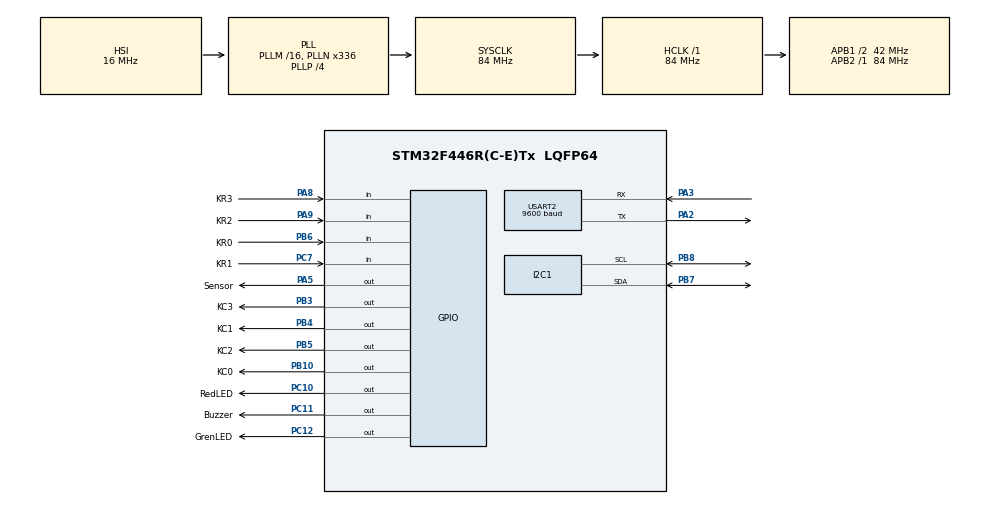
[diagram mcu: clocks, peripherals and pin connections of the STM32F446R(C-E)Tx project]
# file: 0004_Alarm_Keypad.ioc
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FREERTOS.Tasks01=OLEDTask,24,128,StartOLEDTask,Default,NULL,Dynamic,NULL,NULL;KeypadTask,24,128,StartKeypadTask,Default,NULL,Dynamic,NULL,NULL;LEDTask,24,128,StartLEDTask,Default,NULL,Dynamic,NULL,NULL;BuzzerTask,24,128,StartBuzzerTask,Default,NULL,Dynamic,NULL,NULL;SensorTask,24,128,StartSensorTask,Default,NULL,Dynamic,NULL,NULL
I2C1.I2C_Mode=I2C_Fast
Mcu.Family=STM32F4
Mcu.Name=STM32F446R(C-E)Tx
Mcu.Package=LQFP64
NVIC.PriorityGroup=NVIC_PRIORITYGROUP_4
NVIC.TIM6_DAC_IRQn=true\:15\:0\:false\:false\:true\:false\:false\:true\:true
NVIC.TimeBase=TIM6_DAC_IRQn
NVIC.TimeBaseIP=TIM6
PA13.Mode=Serial_Wire
PA13.Signal=SYS_JTMS-SWDIO
PA14.Mode=Serial_Wire
PA14.Signal=SYS_JTCK-SWCLK
PA2.Mode=Asynchronous
PA2.Signal=USART2_TX
PA3.Mode=Asynchronous
PA3.Signal=USART2_RX
PA5.GPIO_Label=Sensor
PA5.Signal=GPIO_Output
PA8.GPIO_Label=KR3
PA8.GPIO_PuPd=GPIO_PULLDOWN
PA8.Signal=GPIO_Input
PA9.GPIO_Label=KR2
PA9.GPIO_PuPd=GPIO_PULLDOWN
PA9.Signal=GPIO_Input
PB10.GPIO_Label=KC0
PB10.Signal=GPIO_Output
PB3.GPIO_Label=KC3
PB3.Signal=GPIO_Output
PB4.GPIO_Label=KC1
PB4.Signal=GPIO_Output
PB5.GPIO_Label=KC2
PB5.Signal=GPIO_Output
PB6.GPIO_Label=KR0
PB6.GPIO_PuPd=GPIO_PULLDOWN
PB6.Signal=GPIO_Input
PB7.Mode=I2C
PB7.Signal=I2C1_SDA
PB8.Mode=I2C
PB8.Signal=I2C1_SCL
PC10.GPIO_Label=RedLED
PC10.Signal=GPIO_Output
PC11.GPIO_Label=Buzzer
PC11.Signal=GPIO_Output
PC12.GPIO_Label=GrenLED
PC12.Signal=GPIO_Output
PC14-OSC32_IN.Mode=LSE-External-Oscillator
PC14-OSC32_IN.Signal=RCC_OSC32_IN
PC15-OSC32_OUT.Mode=LSE-External-Oscillator
PC15-OSC32_OUT.Signal=RCC_OSC32_OUT
PC7.GPIO_Label=KR1
PC7.GPIO_PuPd=GPIO_PULLDOWN
PC7.Signal=GPIO_Input
PH0-OSC_IN.Mode=HSE-External-Oscillator
PH0-OSC_IN.Signal=RCC_OSC_IN
PH1-OSC_OUT.Mode=HSE-External-Oscillator
PH1-OSC_OUT.Signal=RCC_OSC_OUT
ProjectManager.HeapSize=0x200
ProjectManager.StackSize=0x400
ProjectManager.TargetToolchain=STM32CubeIDE
RCC.48MHZClocksFreq_Value=84000000
RCC.AHBFreq_Value=84000000
RCC.APB1CLKDivider=RCC_HCLK_DIV2
RCC.APB1Freq_Value=42000000
RCC.APB1TimFreq_Value=84000000
RCC.APB2Freq_Value=84000000
RCC.APB2TimFreq_Value=84000000
RCC.CortexFreq_Value=84000000
RCC.FLatency-AdvancedSettings=FLASH_LATENCY_2
RCC.HCLKFreq_Value=84000000
RCC.HSE_VALUE=8000000
RCC.HSI_VALUE=16000000
RCC.PLLN=336
RCC.PLLP=RCC_PLLP_DIV4
RCC.SYSCLKFreq_VALUE=84000000
RCC.SYSCLKSource=RCC_SYSCLKSOURCE_PLLCLK
RCC.USBFreq_Value=168000000
RCC.VCOOutputFreq_Value=336000000
USART2.BaudRate=9600
USART2.VirtualMode=VM_ASYNC
VP_FREERTOS_VS_CMSIS_V2.Mode=CMSIS_V2
VP_SYS_VS_tim6.Mode=TIM6
board=NUCLEO-F446RE

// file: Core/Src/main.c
/* USER CODE BEGIN Header */
/**
  ******************************************************************************
  * @file           : main.c
  * @brief          : Main program body
  ******************************************************************************
  * @attention
  *
  * Copyright (c) 2024 STMicroelectronics.
  * All rights reserved.
  *
  * This software is licensed under terms that can be found in the LICENSE file
  * in the root directory of this software component.
  * If no LICENSE file comes with this software, it is provided AS-IS.
  *
  ******************************************************************************
  */
/* USER CODE END Header */
#include "main.h"
#include "cmsis_os.h"

/* USER CODE BEGIN Includes */
#include "Keypad4X4.h"
#include <stdio.h>
#include <string.h>
#include <stdlib.h>
#include "fonts.h"
#include "ssd1306.h"

/* USER CODE END Includes */

I2C_HandleTypeDef hi2c1;

UART_HandleTypeDef huart2;

/* Definitions for OLEDTask */
osThreadId_t OLEDTaskHandle;
const osThreadAttr_t OLEDTask_attributes = {
  .name = "OLEDTask",
  .stack_size = 128 * 4,
  .priority = (osPriority_t) osPriorityNormal,
};
/* Definitions for KeypadTask */
osThreadId_t KeypadTaskHandle;
const osThreadAttr_t KeypadTask_attributes = {
  .name = "KeypadTask",
  .stack_size = 128 * 4,
  .priority = (osPriority_t) osPriorityNormal,
};
/* Definitions for LEDTask */
osThreadId_t LEDTaskHandle;
const osThreadAttr_t LEDTask_attributes = {
  .name = "LEDTask",
  .stack_size = 128 * 4,
  .priority = (osPriority_t) osPriorityNormal,
};
/* Definitions for BuzzerTask */
osThreadId_t BuzzerTaskHandle;
const osThreadAttr_t BuzzerTask_attributes = {
  .name = "BuzzerTask",
  .stack_size = 128 * 4,
  .priority = (osPriority_t) osPriorityNormal,
};
/* Definitions for SensorTask */
osThreadId_t SensorTaskHandle;
const osThreadAttr_t SensorTask_attributes = {
  .name = "SensorTask",
  .stack_size = 128 * 4,
  .priority = (osPriority_t) osPriorityNormal,
};
/* USER CODE BEGIN PV */
extern char key;
char hold[4];
char password[4] = "1111";
bool oledUpdate = false;
bool buzzerFlag= false;
bool sensorStatus = false;

/* USER CODE END PV */

void SystemClock_Config(void);
static void MX_GPIO_Init(void);
static void MX_USART2_UART_Init(void);
static void MX_I2C1_Init(void);
void StartOLEDTask(void *argument);
void StartKeypadTask(void *argument);
void StartLEDTask(void *argument);
void StartBuzzerTask(void *argument);
void StartSensorTask(void *argument);

/* USER CODE BEGIN PFP */

bool isArmed = true;

/* USER CODE END PFP */

int main(void)
{

  /* MCU Configuration--------------------------------------------------------*/

  /* Reset of all peripherals, Initializes the Flash interface and the Systick. */
  HAL_Init();

  /* Configure the system clock */
  SystemClock_Config();

  /* Initialize all configured peripherals */
  MX_GPIO_Init();
  MX_USART2_UART_Init();
  MX_I2C1_Init();
  /* USER CODE BEGIN 2 */
  /* USER CODE BEGIN 2 */
    SSD1306_Init();
//    SSD1306_GotoXY (0,0);
//    SSD1306_Puts ("Enter Code:", &Font_11x18, 1);
//    SSD1306_GotoXY (0, 30);
//    SSD1306_UpdateScreen();
//    SSD1306_UpdateScreen();
//    HAL_Delay (500);

  /* USER CODE END 2 */

  /* Init scheduler */
  osKernelInitialize();

  /* Create the thread(s) */
  /* creation of OLEDTask */
  OLEDTaskHandle = osThreadNew(StartOLEDTask, NULL, &OLEDTask_attributes);

  /* creation of KeypadTask */
  KeypadTaskHandle = osThreadNew(StartKeypadTask, NULL, &KeypadTask_attributes);

  /* creation of LEDTask */
  LEDTaskHandle = osThreadNew(StartLEDTask, NULL, &LEDTask_attributes);

  /* creation of BuzzerTask */
  BuzzerTaskHandle = osThreadNew(StartBuzzerTask, NULL, &BuzzerTask_attributes);

  /* creation of SensorTask */
  SensorTaskHandle = osThreadNew(StartSensorTask, NULL, &SensorTask_attributes);

  /* Start scheduler */
  osKernelStart();

  /* We should never get here as control is now taken by the scheduler */
  /* Infinite loop */
  /* USER CODE BEGIN WHILE */
//  SSD1306_GotoXY (0, 30);
//  SSD1306_UpdateScreen();
//  SSD1306_Puts ("DISARMED", &Font_11x18, 1);
//  SSD1306_UpdateScreen();
  while (1)
  {
    /* USER CODE END WHILE */

    /* USER CODE BEGIN 3 */
	/* D10 to D7 as input pins for row 0 to row 3. D6 to D3 as output for column pins C1 to C3*/
//	  key = Get_Key();
//	  sprintf(hold, "%c", key);
//	  HAL_UART_Transmit(&huart2, (uint8_t *)hold, strlen(hold), 100);
//	  SSD1306_GotoXY (0, 30);
//	  SSD1306_UpdateScreen();
//	  SSD1306_Puts (hold, &Font_11x18, 1);
//	  SSD1306_UpdateScreen();
//	  HAL_Delay (500);
  }
  /* USER CODE END 3 */
}

void SystemClock_Config(void)
{
  RCC_OscInitTypeDef RCC_OscInitStruct = {0};
  RCC_ClkInitTypeDef RCC_ClkInitStruct = {0};

  /** Configure the main internal regulator output voltage
  */
  __HAL_RCC_PWR_CLK_ENABLE();
  __HAL_PWR_VOLTAGESCALING_CONFIG(PWR_REGULATOR_VOLTAGE_SCALE3);

  /** Initializes the RCC Oscillators according to the specified parameters
  * in the RCC_OscInitTypeDef structure.
  */
  RCC_OscInitStruct.OscillatorType = RCC_OSCILLATORTYPE_HSI;
  RCC_OscInitStruct.HSIState = RCC_HSI_ON;
  RCC_OscInitStruct.HSICalibrationValue = RCC_HSICALIBRATION_DEFAULT;
  RCC_OscInitStruct.PLL.PLLState = RCC_PLL_ON;
  RCC_OscInitStruct.PLL.PLLSource = RCC_PLLSOURCE_HSI;
  RCC_OscInitStruct.PLL.PLLM = 16;
  RCC_OscInitStruct.PLL.PLLN = 336;
  RCC_OscInitStruct.PLL.PLLP = RCC_PLLP_DIV4;
  RCC_OscInitStruct.PLL.PLLQ = 2;
  RCC_OscInitStruct.PLL.PLLR = 2;
  if (HAL_RCC_OscConfig(&RCC_OscInitStruct) != HAL_OK)
  {
    Error_Handler();
  }

  /** Initializes the CPU, AHB and APB buses clocks
  */
  RCC_ClkInitStruct.ClockType = RCC_CLOCKTYPE_HCLK|RCC_CLOCKTYPE_SYSCLK
                              |RCC_CLOCKTYPE_PCLK1|RCC_CLOCKTYPE_PCLK2;
  RCC_ClkInitStruct.SYSCLKSource = RCC_SYSCLKSOURCE_PLLCLK;
  RCC_ClkInitStruct.AHBCLKDivider = RCC_SYSCLK_DIV1;
  RCC_ClkInitStruct.APB1CLKDivider = RCC_HCLK_DIV2;
  RCC_ClkInitStruct.APB2CLKDivider = RCC_HCLK_DIV1;

  if (HAL_RCC_ClockConfig(&RCC_ClkInitStruct, FLASH_LATENCY_2) != HAL_OK)
  {
    Error_Handler();
  }
}

static void MX_I2C1_Init(void)
{

  hi2c1.Instance = I2C1;
  hi2c1.Init.ClockSpeed = 400000;
  hi2c1.Init.DutyCycle = I2C_DUTYCYCLE_2;
  hi2c1.Init.OwnAddress1 = 0;
  hi2c1.Init.AddressingMode = I2C_ADDRESSINGMODE_7BIT;
  hi2c1.Init.DualAddressMode = I2C_DUALADDRESS_DISABLE;
  hi2c1.Init.OwnAddress2 = 0;
  hi2c1.Init.GeneralCallMode = I2C_GENERALCALL_DISABLE;
  hi2c1.Init.NoStretchMode = I2C_NOSTRETCH_DISABLE;
  if (HAL_I2C_Init(&hi2c1) != HAL_OK)
  {
    Error_Handler();
  }

}

static void MX_USART2_UART_Init(void)
{

  huart2.Instance = USART2;
  huart2.Init.BaudRate = 9600;
  huart2.Init.WordLength = UART_WORDLENGTH_8B;
  huart2.Init.StopBits = UART_STOPBITS_1;
  huart2.Init.Parity = UART_PARITY_NONE;
  huart2.Init.Mode = UART_MODE_TX_RX;
  huart2.Init.HwFlowCtl = UART_HWCONTROL_NONE;
  huart2.Init.OverSampling = UART_OVERSAMPLING_16;
  if (HAL_UART_Init(&huart2) != HAL_OK)
  {
    Error_Handler();
  }

}

static void MX_GPIO_Init(void)
{
  GPIO_InitTypeDef GPIO_InitStruct = {0};

  /* GPIO Ports Clock Enable */
  __HAL_RCC_GPIOC_CLK_ENABLE();
  __HAL_RCC_GPIOH_CLK_ENABLE();
  __HAL_RCC_GPIOA_CLK_ENABLE();
  __HAL_RCC_GPIOB_CLK_ENABLE();

  /*Configure GPIO pin Output Level */
  HAL_GPIO_WritePin(Sensor_GPIO_Port, Sensor_Pin, GPIO_PIN_RESET);

  /*Configure GPIO pin Output Level */
  HAL_GPIO_WritePin(GPIOB, KC0_Pin|KC3_Pin|KC1_Pin|KC2_Pin, GPIO_PIN_RESET);

  /*Configure GPIO pin Output Level */
  HAL_GPIO_WritePin(GPIOC, RedLED_Pin|Buzzer_Pin|GrenLED_Pin, GPIO_PIN_RESET);

  /*Configure GPIO pin : Sensor_Pin */
  GPIO_InitStruct.Pin = Sensor_Pin;
  GPIO_InitStruct.Mode = GPIO_MODE_OUTPUT_PP;
  GPIO_InitStruct.Pull = GPIO_NOPULL;
  GPIO_InitStruct.Speed = GPIO_SPEED_FREQ_LOW;
  HAL_GPIO_Init(Sensor_GPIO_Port, &GPIO_InitStruct);

  /*Configure GPIO pins : KC0_Pin KC3_Pin KC1_Pin KC2_Pin */
  GPIO_InitStruct.Pin = KC0_Pin|KC3_Pin|KC1_Pin|KC2_Pin;
  GPIO_InitStruct.Mode = GPIO_MODE_OUTPUT_PP;
  GPIO_InitStruct.Pull = GPIO_NOPULL;
  GPIO_InitStruct.Speed = GPIO_SPEED_FREQ_LOW;
  HAL_GPIO_Init(GPIOB, &GPIO_InitStruct);

  /*Configure GPIO pin : KR1_Pin */
  GPIO_InitStruct.Pin = KR1_Pin;
  GPIO_InitStruct.Mode = GPIO_MODE_INPUT;
  GPIO_InitStruct.Pull = GPIO_PULLDOWN;
  HAL_GPIO_Init(KR1_GPIO_Port, &GPIO_InitStruct);

  /*Configure GPIO pins : KR3_Pin KR2_Pin */
  GPIO_InitStruct.Pin = KR3_Pin|KR2_Pin;
  GPIO_InitStruct.Mode = GPIO_MODE_INPUT;
  GPIO_InitStruct.Pull = GPIO_PULLDOWN;
  HAL_GPIO_Init(GPIOA, &GPIO_InitStruct);

  /*Configure GPIO pins : RedLED_Pin Buzzer_Pin GrenLED_Pin */
  GPIO_InitStruct.Pin = RedLED_Pin|Buzzer_Pin|GrenLED_Pin;
  GPIO_InitStruct.Mode = GPIO_MODE_OUTPUT_PP;
  GPIO_InitStruct.Pull = GPIO_NOPULL;
  GPIO_InitStruct.Speed = GPIO_SPEED_FREQ_LOW;
  HAL_GPIO_Init(GPIOC, &GPIO_InitStruct);

  /*Configure GPIO pin : KR0_Pin */
  GPIO_InitStruct.Pin = KR0_Pin;
  GPIO_InitStruct.Mode = GPIO_MODE_INPUT;
  GPIO_InitStruct.Pull = GPIO_PULLDOWN;
  HAL_GPIO_Init(KR0_GPIO_Port, &GPIO_InitStruct);

}

void StartOLEDTask(void *argument)
{
  /* USER CODE BEGIN 5 */
  /* Infinite loop */
  for(;;)
  {
//	  SSD1306_GotoXY (0, 30);
//	  SSD1306_UpdateScreen();
//	  SSD1306_Puts ("Enter code:", &Font_11x18, 1);
//	  SSD1306_UpdateScreen();
//	  HAL_Delay (500);
	 // SSD1306_Clear();
//
//	  SSD1306_Puts ("ARMED", &Font_11x18, 1);
//	  SSD1306_UpdateScreen();
//	  HAL_Delay (500);

	  SSD1306_GotoXY (0, 30);
	  if (isArmed) {
//		  SSD1306_GotoXY (0, 30);
//		  SSD1306_UpdateScreen();
//		  SSD1306_Fill(SSD1306_COLOR_BLACK);
		  SSD1306_Puts ("ARMED", &Font_11x18, 1);
		  SSD1306_UpdateScreen();
		  HAL_Delay (500);
	  } else {
//		  SSD1306_GotoXY (0, 30);
//		  SSD1306_UpdateScreen();
//		  SSD1306_Fill(SSD1306_COLOR_BLACK);
		  SSD1306_Puts ("DISARMED", &Font_11x18, 1);
		  SSD1306_UpdateScreen();
		  HAL_Delay (500);
	  }

  }
  /* USER CODE END 5 */
}

void StartKeypadTask(void *argument)
{
  /* USER CODE BEGIN StartKeypadTask */
  /* Infinite loop */
  for(;;)
  {
	  for (int i = 0; i<4; i++) {
		  hold[i] = Get_Key();

		  }

//		  SSD1306_GotoXY (0, 30);
//		  SSD1306_Puts (hold, &Font_11x18, 1);
//		  SSD1306_UpdateScreen();

	  if (((hold[0] == password[0]) && (hold[1] == password[1]) && (hold[2] == password[2]) && (hold[3] == password[3]))) {
		  isArmed = !isArmed;
	  }

//  isArmed = !((hold[0] == password[0]) && (hold[1] == password[1]) && (hold[2] == password[2]) && (hold[3] == password[3]));

  }
  /* USER CODE END StartKeypadTask */
}

void StartLEDTask(void *argument)
{
  /* USER CODE BEGIN StartLEDTask */
  /* Infinite loop */
  for(;;)
  {
//	  HAL_GPIO_WritePin(GPIOC, RedLED_Pin, GPIO_PIN_SET);
//	  HAL_GPIO_WritePin(GPIOC, GrenLED_Pin, GPIO_PIN_SET);
	if (isArmed) {
		HAL_GPIO_WritePin(GPIOC, RedLED_Pin, GPIO_PIN_SET);
		HAL_GPIO_WritePin(GPIOC, GrenLED_Pin, GPIO_PIN_RESET);
	} else {
		HAL_GPIO_WritePin(GPIOC, RedLED_Pin, GPIO_PIN_RESET);
		HAL_GPIO_WritePin(GPIOC, GrenLED_Pin, GPIO_PIN_SET);
	}
////    osDelay(1);
  }
  /* USER CODE END StartLEDTask */
}

void StartBuzzerTask(void *argument)
{
  /* USER CODE BEGIN StartBuzzerTask */
  /* Infinite loop */
  for(;;)
  {
//	  HAL_GPIO_WritePin(GPIOC, Buzzer_Pin, GPIO_PIN_SET);
//	  if (isArmed) {
//		  buzzerFlag = true;
//	  }

	  if (isArmed && sensorStatus) {
		  HAL_GPIO_WritePin(GPIOC, Buzzer_Pin, GPIO_PIN_SET);

	  }

	  if (!isArmed) {
		  HAL_GPIO_WritePin(GPIOC, Buzzer_Pin, GPIO_PIN_RESET);
	  }
//    osDelay(1);
  }
  /* USER CODE END StartBuzzerTask */
}

void StartSensorTask(void *argument)
{
  /* USER CODE BEGIN StartSensorTask */
  /* Infinite loop */
  for(;;)
  {

	  if (HAL_GPIO_ReadPin(GPIOA, GPIO_PIN_5) == GPIO_PIN_SET){
		  sensorStatus = true;
	  } else {
		  sensorStatus = false;
	  }
//    osDelay(1);
  }
  /* USER CODE END StartSensorTask */
}

void HAL_TIM_PeriodElapsedCallback(TIM_HandleTypeDef *htim)
{
  if (htim->Instance == TIM6) {
    HAL_IncTick();
  }
}

void Error_Handler(void)
{
  __disable_irq();
  while (1)
  {
  }
}
